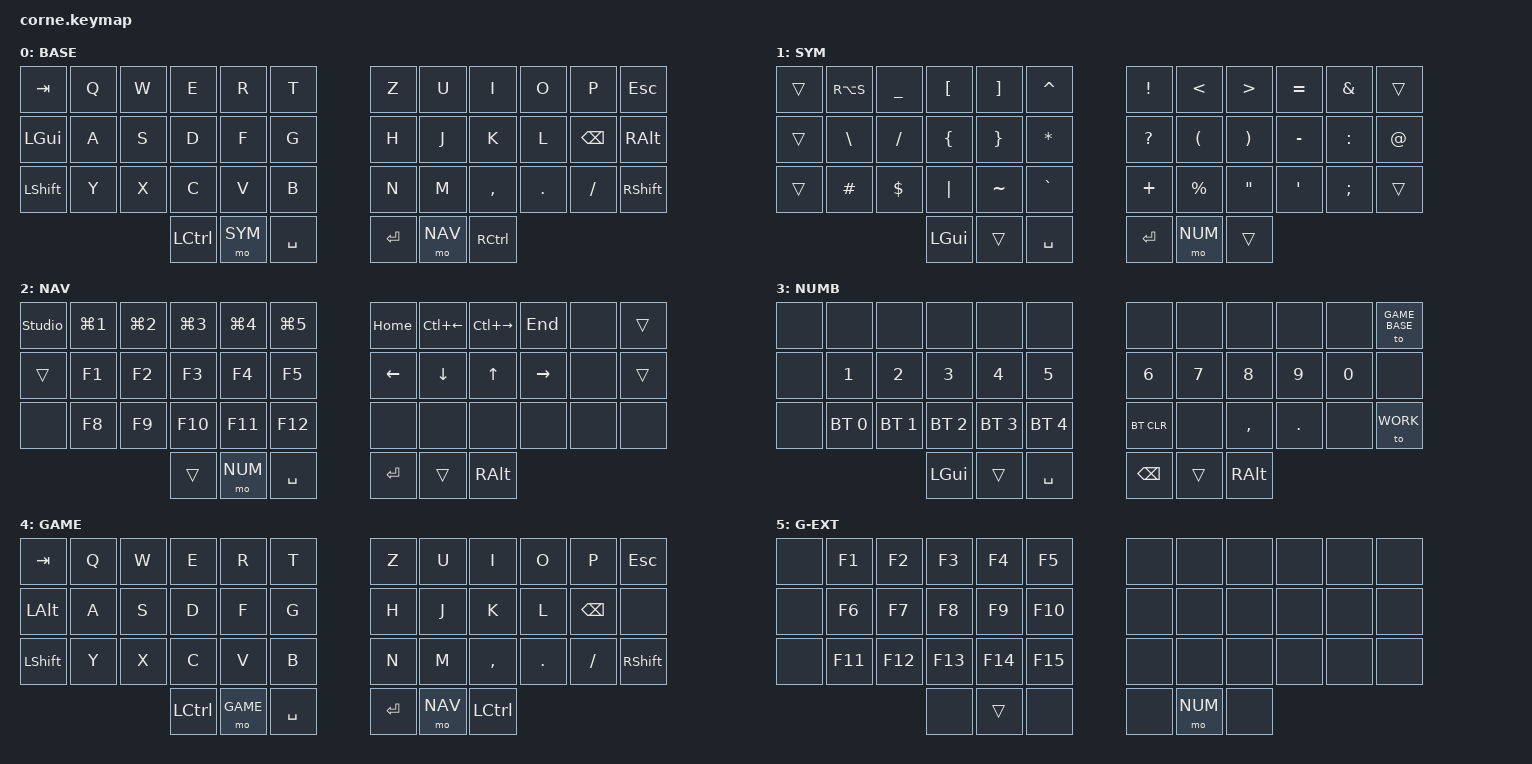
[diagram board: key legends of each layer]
#include <behaviors.dtsi>
#include <dt-bindings/zmk/keys.h>
#include <dt-bindings/zmk/bt.h>

#define WORK       0
#define SYM        1
#define NAV        2
#define NUM        3
#define GAME_BASE  4
#define GAME       5

/ {
    keymap {
        compatible = "zmk,keymap";

        work_layer {
            display-name = "BASE";
            bindings = <
            // ╭──────────┬──────────┬──────────┬──────────┬──────────┬──────────╮   ╭──────────┬──────────┬──────────┬──────────┬──────────┬──────────╮
                 &kp TAB    &kp Q      &kp W      &kp E      &kp R      &kp T          &kp Z      &kp U      &kp I      &kp O      &kp P      &kp ESC
            // ├──────────┼──────────┼──────────┼──────────┼──────────┼──────────┤   ├──────────┼──────────┼──────────┼──────────┼──────────┼──────────┤
                 &kp LGUI   &kp A      &kp S      &kp D      &kp F      &kp G          &kp H      &kp J      &kp K      &kp L      &kp BSPC   &kp RALT
            // ├──────────┼──────────┼──────────┼──────────┼──────────┼──────────┤   ├──────────┼──────────┼──────────┼──────────┼──────────┼──────────┤
                 &kp LSHFT  &kp Y      &kp X      &kp C      &kp V      &kp B          &kp N      &kp M      &kp COMMA  &kp DOT    &kp FSLH   &kp RSHFT
            // ╰──────────┴──────────┴──────────┴──────────┴──────────┴──────────╯   ╰──────────┴──────────┴──────────┴──────────┴──────────┴──────────╯
            //                               ╭──────────┬──────────┬──────────╮   ╭──────────┬──────────┬──────────╮
                                                &kp LCTRL  &mo SYM    &kp SPACE     &kp ENTER  &mo NAV    &kp RCTRL
            //                               ╰──────────┴──────────┴──────────╯   ╰──────────┴──────────┴──────────╯
            >;
        };

        symbols_layer {
            display-name = "SYM";
            bindings = <
            // ╭──────────┬──────────┬──────────┬──────────┬──────────┬──────────╮   ╭──────────┬──────────┬──────────┬──────────┬──────────┬──────────╮
                 &trans     &kp RA(S) &kp UNDER  &kp LBKT   &kp RBKT   &kp CARET      &kp EXCL   &kp LT     &kp GT     &kp EQUAL  &kp AMPS   &trans
            // ├──────────┼──────────┼──────────┼──────────┼──────────┼──────────┤   ├──────────┼──────────┼──────────┼──────────┼──────────┼──────────┤
                 &trans     &kp BSLH  &kp FSLH   &kp LBRC   &kp RBRC   &kp STAR       &kp QMARK  &kp LPAR   &kp RPAR   &kp MINUS  &kp COLON  &kp AT
            // ├──────────┼──────────┼──────────┼──────────┼──────────┼──────────┤   ├──────────┼──────────┼──────────┼──────────┼──────────┼──────────┤
                 &trans     &kp HASH  &kp DLLR   &kp PIPE   &kp TILDE  &kp GRAVE      &kp PLUS   &kp PRCNT  &kp DQT    &kp SQT    &kp SEMI   &trans
            // ╰──────────┴──────────┴──────────┴──────────┴──────────┴──────────╯   ╰──────────┴──────────┴──────────┴──────────┴──────────┴──────────╯
            //                               ╭──────────┬──────────┬──────────╮   ╭──────────┬──────────┬──────────╮
                                                &kp LGUI   &trans     &kp SPACE     &kp ENTER  &mo NUM    &trans
            //                               ╰──────────┴──────────┴──────────╯   ╰──────────┴──────────┴──────────╯
            >;
        };

        navigation_layer {
            display-name = "NAV";
            bindings = <
            // ╭──────────────┬───────────┬─────────────┬─────────────┬─────────────┬─────────────╮   ╭──────────┬──────────────┬──────────────┬──────────┬──────────┬──────────╮
                 &studio_unlock &kp LG(N1) &kp LG(N2)   &kp LG(N3)   &kp LG(N4)   &kp LG(N5)       &kp HOME   &kp LC(LEFT)  &kp LC(RIGHT) &kp END    &none      &trans
            // ├──────────────┼───────────┼─────────────┼─────────────┼─────────────┼─────────────┤   ├──────────┼──────────────┼──────────────┼──────────┼──────────┼──────────┤
                 &trans         &kp F1       &kp F2        &kp F3          &kp F4      &kp F5            &kp LEFT   &kp DOWN      &kp UP        &kp RIGHT  &none      &trans
            // ├──────────────┼───────────┼─────────────┼─────────────┼─────────────┼─────────────┤   ├──────────┼──────────────┼──────────────┼──────────┼──────────┼──────────┤
                &none          &kp F8       &kp F9        &kp F10          &kp F11      &kp F12         &none      &none         &none        &none      &none      &none
            // ╰──────────────┴───────────┴─────────────┴─────────────┴─────────────┴─────────────╯   ╰──────────┴──────────────┴──────────────┴──────────┴──────────┴──────────╯
            //                                      ╭──────────┬──────────┬──────────╮   ╭──────────┬──────────┬──────────╮
                                                       &trans     &mo NUM    &kp SPACE     &kp ENTER  &trans     &kp RALT
            //                                      ╰──────────┴──────────┴──────────╯   ╰──────────┴──────────┴──────────╯
            >;
        };

        numbers_layer {
            display-name = "NUMB";
            bindings = <
            // ╭───────────┬─────────────┬─────────────┬─────────────┬─────────────┬──────────╮   ╭──────────┬──────────┬──────────┬──────────┬──────────┬──────────────╮
                 &none       &none        &none        &none        &none        &none          &none      &none      &none      &none      &none      &to GAME_BASE
            // ├───────────┼─────────────┼─────────────┼─────────────┼─────────────┼──────────┤   ├──────────┼──────────┼──────────┼──────────┼──────────┼──────────────┤
                 &none       &kp N1       &kp N2       &kp N3       &kp N4       &kp N5         &kp N6    &kp N7    &kp N8    &kp N9    &kp N0    &none
            // ├───────────┼─────────────┼─────────────┼─────────────┼─────────────┼──────────┤   ├──────────┼──────────┼──────────┼──────────┼──────────┼──────────────┤
                 &none      &bt BT_SEL 0  &bt BT_SEL 1  &bt BT_SEL 2  &bt BT_SEL 3  &bt BT_SEL 4    &bt BT_CLR      &none     &kp COMMA   &kp DOT    &none       &to WORK
            // ╰───────────┴─────────────┴─────────────┴─────────────┴─────────────┴──────────╯   ╰──────────┴──────────┴──────────┴──────────┴──────────┴──────────────╯
            //                                    ╭──────────┬──────────┬──────────╮   ╭──────────┬──────────┬──────────╮
                                                     &kp LGUI   &trans     &kp SPACE     &kp BSPC   &trans     &kp RALT
            //                                    ╰──────────┴──────────┴──────────╯   ╰──────────┴──────────┴──────────╯
            >;
        };

        gaming_base_layer {
            display-name = "GAME";
            bindings = <
            // ╭──────────┬──────────┬──────────┬──────────┬──────────┬──────────╮   ╭──────────┬──────────┬──────────┬──────────┬──────────┬──────────╮
                 &kp TAB    &kp Q      &kp W      &kp E      &kp R      &kp T          &kp Z      &kp U      &kp I      &kp O      &kp P      &kp ESC
            // ├──────────┼──────────┼──────────┼──────────┼──────────┼──────────┤   ├──────────┼──────────┼──────────┼──────────┼──────────┼──────────┤
                 &kp LALT   &kp A      &kp S      &kp D      &kp F      &kp G          &kp H      &kp J      &kp K      &kp L      &kp BSPC   &none
            // ├──────────┼──────────┼──────────┼──────────┼──────────┼──────────┤   ├──────────┼──────────┼──────────┼──────────┼──────────┼──────────┤
                 &kp LSHFT  &kp Y      &kp X      &kp C      &kp V      &kp B          &kp N      &kp M      &kp COMMA  &kp DOT    &kp FSLH   &kp RSHFT
            // ╰──────────┴──────────┴──────────┴──────────┴──────────┴──────────╯   ╰──────────┴──────────┴──────────┴──────────┴──────────┴──────────╯
            //                               ╭──────────┬──────────┬──────────╮   ╭──────────┬──────────┬──────────╮
                                                &kp LCTRL  &mo GAME   &kp SPACE     &kp ENTER  &mo NAV    &kp LCTRL
            //                               ╰──────────┴──────────┴──────────╯   ╰──────────┴──────────┴──────────╯
            >;
        };

        gaming_extra_layer {
            display-name = "G-EXT";
            bindings = <
            // ╭──────────┬──────────┬──────────┬──────────┬──────────┬──────────╮   ╭──────────┬──────────┬──────────┬──────────┬──────────┬──────────╮
                 &none      &kp F1    &kp F2    &kp F3    &kp F4    &kp F5         &none      &none      &none      &none      &none      &none
            // ├──────────┼──────────┼──────────┼──────────┼──────────┼──────────┤   ├──────────┼──────────┼──────────┼──────────┼──────────┼──────────┤
                 &none      &kp F6    &kp F7    &kp F8    &kp F9    &kp F10        &none      &none      &none      &none      &none      &none
            // ├──────────┼──────────┼──────────┼──────────┼──────────┼──────────┤   ├──────────┼──────────┼──────────┼──────────┼──────────┼──────────┤
                 &none      &kp F11   &kp F12   &kp F13   &kp F14   &kp F15        &none      &none      &none      &none      &none      &none
            // ╰──────────┴──────────┴──────────┴──────────┴──────────┴──────────╯   ╰──────────┴──────────┴──────────┴──────────┴──────────┴──────────╯
            //                               ╭──────────┬──────────┬──────────╮   ╭──────────┬──────────┬──────────╮
                                                &none      &trans     &none          &none       &mo NUM       &none
            //                               ╰──────────┴──────────┴──────────╯   ╰──────────┴──────────┴──────────╯
            >;
        };
    };
};
